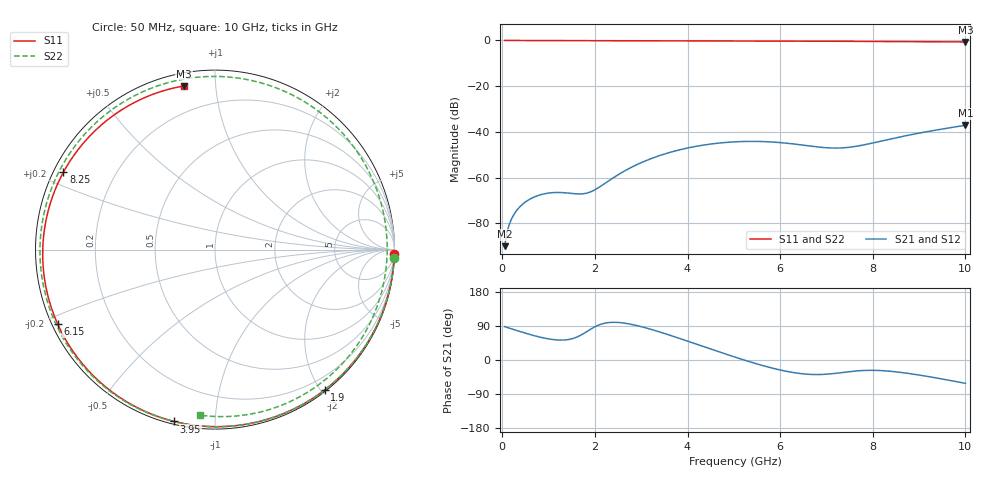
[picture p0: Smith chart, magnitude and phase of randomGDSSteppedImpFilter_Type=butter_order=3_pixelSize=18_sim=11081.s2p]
! freq	dB(S11)	phase(S11)	dB(S12)	phase(S12)
!  dB(S21)	phase(S21)	dB(S22)	phase(S22)
!S-par simulation data
#  GHz  S  DB  R 50
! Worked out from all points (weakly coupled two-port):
!   200 points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, 50 MHz to 10 GHz, reference 50 ohm
!   highest |S21| = -37.09 dB at 10 GHz (marker M1); lowest = -89.9 dB at 50 MHz (marker M2)
!   lowest |S11| = -0.6 dB at 10 GHz (marker M3), VSWR 26.76, Z = 3.15 + j41.3 ohm
!   |S11| at or under -10 dB: nowhere
!   |S22| runs from -0.7 to 0.0 dB; largest |S21 - S12| = 0
!   S11 on the Smith chart (normalised r, x): 50 MHz: 0, -81; 1.9 GHz: 0.02, -2.05; 3.95 GHz: 0.01, -0.79; 6.15 GHz: 0.02, -0.22; 8.25 GHz: 0.03, +0.24; 10 GHz: 0.06, +0.83
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0.05  -0.00 -1.4  -89.93 88.0  -89.93 88.0  -0.00 -2.6
0.15  -0.01 -4.2  -80.44 84.1  -80.44 84.1  -0.01 -7.9
0.25  -0.01 -7.0  -76.11 80.2  -76.11 80.2  -0.02 -13.1
0.4  -0.02 -11.2  -72.29 74.5  -72.29 74.5  -0.03 -20.9
0.75  -0.03 -20.9  -67.94 62.2  -67.94 62.2  -0.05 -39.0
1.25  -0.04 -34.6  -66.47 52.5  -66.47 52.5  -0.08 -64.5
1.75  -0.06 -48.0  -67.01 69.4  -67.01 69.4  -0.11 -89.5
1.9  -0.07 -52.0  -66.24 80.8  -66.24 80.8  -0.12 -96.9
2.6  -0.09 -70.1  -57.52 97.9  -57.52 97.9  -0.16 -131.3
3  -0.10 -80.2  -53.42 88.0  -53.42 88.0  -0.18 -150.9
3.4  -0.12 -90.1  -50.31 74.0  -50.31 74.0  -0.21 -170.7
3.95  -0.14 -103.4  -47.24 52.0  -47.24 52.0  -0.24 161.5
4.55  -0.17 -117.5  -45.16 27.0  -45.16 27.0  -0.27 130.4
5.05  -0.19 -129.2  -44.29 6.6  -44.29 6.6  -0.30 104.0
5.6  -0.23 -141.9  -44.18 -13.9  -44.18 -13.9  -0.32 75.0
6.15  -0.27 -154.8  -44.93 -30.2  -44.93 -30.2  -0.33 46.8
6.7  -0.31 -167.8  -46.28 -38.2  -46.28 -38.2  -0.35 20.3
7.4  -0.38 175.1  -46.88 -32.1  -46.88 -32.1  -0.37 -10.3
8.25  -0.46 153.0  -43.68 -28.5  -43.68 -28.5  -0.43 -42.4
8.35  -0.47 150.3  -43.23 -29.4  -43.23 -29.4  -0.44 -45.8
9.15  -0.56 127.4  -39.95 -42.7  -39.95 -42.7  -0.53 -71.3
10  -0.65 100.7  -37.09 -61.6  -37.09 -61.6  -0.67 -95.3
